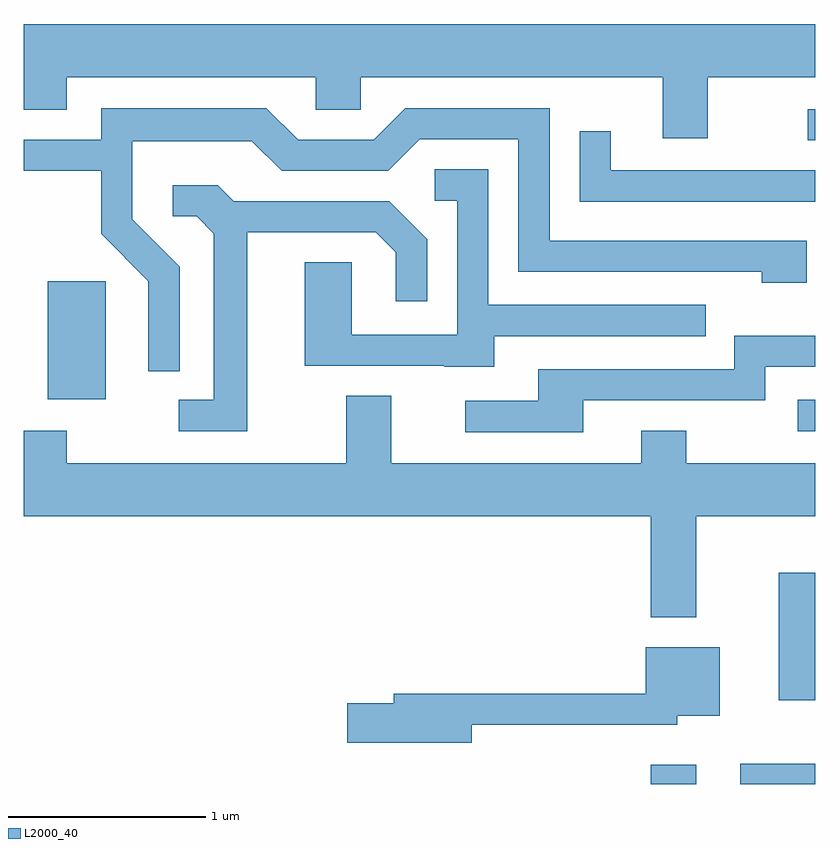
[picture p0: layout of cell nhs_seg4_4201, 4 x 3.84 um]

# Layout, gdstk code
import gdstk
lib = gdstk.Library(unit=1e-6, precision=1e-09)
def R(c, l, rs):  # rectangles x0, y0, x1, y1
    for r in rs: c.add(gdstk.rectangle(r[:2], r[2:], *l))
def P(c, l, *ps):  # polygons
    for p in ps: c.add(gdstk.Polygon(p, *l))
L2000_40 = (2000, 40)

nhs_seg4_4201 = lib.new_cell('nhs_seg4_4201')
R(nhs_seg4_4201, L2000_40, [(310.781,1359.982,311.009,1360.079), (311.233,1359.982,311.611,1360.084), (311.426,1360.406,311.611,1361.049), (311.523,1361.766,311.611,1361.924), (307.731,1361.926,308.024,1362.524), (311.573,1363.236,311.611,1363.394)])
P(nhs_seg4_4201, L2000_40, [(311.069,1363.556),(311.611,1363.556),(311.611,1363.824),(307.611,1363.824),(307.611,1363.391),(307.829,1363.391),(307.829,1363.556),(309.086,1363.556),(309.086,1363.391),(309.314,1363.391),(309.314,1363.556),(310.841,1363.556),(310.841,1363.246),(311.069,1363.246)],
  [(308.399,1362.597),(308.159,1362.837),(308.159,1363.231),(308.764,1363.231),(308.914,1363.081),(309.452,1363.081),(309.612,1363.241),(310.111,1363.241),(310.111,1362.571),(311.341,1362.571),(311.341,1362.516),(311.569,1362.516),(311.569,1362.729),(310.269,1362.729),(310.269,1363.399),(309.539,1363.399),(309.379,1363.239),(308.997,1363.239),(308.837,1363.399),(308.001,1363.399),(308.001,1363.239),(307.611,1363.239),(307.611,1363.081),(308.001,1363.081),(308.001,1362.764),(308.241,1362.524),(308.241,1362.068),(308.399,1362.068)],
  [(311.611,1363.084),(310.579,1363.084),(310.579,1363.283),(310.421,1363.283),(310.421,1362.926),(311.611,1362.926)],
  [(309.989,1362.246),(311.058,1362.246),(311.058,1362.404),(309.959,1362.404),(309.959,1363.089),(309.688,1363.089),(309.688,1362.931),(309.801,1362.931),(309.801,1362.254),(309.269,1362.254),(309.269,1362.619),(309.031,1362.619),(309.031,1362.096),(309.735,1362.096),(309.735,1362.091),(309.989,1362.091)],
  [(308.739,1362.771),(309.389,1362.771),(309.491,1362.669),(309.491,1362.423),(309.649,1362.423),(309.649,1362.737),(309.457,1362.929),(308.672,1362.929),(308.592,1363.009),(308.363,1363.009),(308.363,1362.851),(308.484,1362.851),(308.571,1362.764),(308.571,1361.924),(308.393,1361.924),(308.393,1361.766),(308.739,1361.766)],
  [(310.439,1361.921),(311.359,1361.921),(311.359,1362.091),(311.611,1362.091),(311.611,1362.249),(311.201,1362.249),(311.201,1362.079),(310.211,1362.079),(310.211,1361.919),(309.843,1361.919),(309.843,1361.761),(310.439,1361.761)],
  [(311.009,1361.336),(311.611,1361.336),(311.611,1361.604),(310.959,1361.604),(310.959,1361.769),(310.731,1361.769),(310.731,1361.604),(309.469,1361.604),(309.469,1361.944),(309.241,1361.944),(309.241,1361.604),(307.829,1361.604),(307.829,1361.769),(307.611,1361.769),(307.611,1361.336),(310.781,1361.336),(310.781,1360.826),(311.009,1360.826)],
  [(309.874,1360.281),(310.914,1360.281),(310.914,1360.326),(311.129,1360.326),(311.129,1360.674),(310.756,1360.674),(310.756,1360.439),(309.481,1360.439),(309.481,1360.389),(309.246,1360.389),(309.246,1360.191),(309.874,1360.191)])

lib.write_gds('nhs_seg4_4201.gds')
